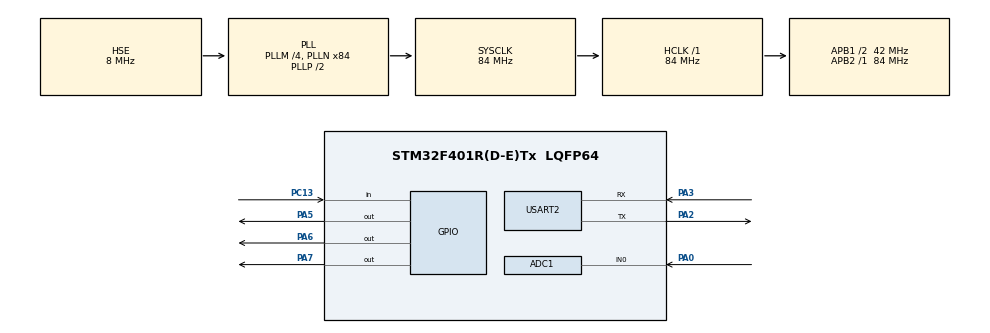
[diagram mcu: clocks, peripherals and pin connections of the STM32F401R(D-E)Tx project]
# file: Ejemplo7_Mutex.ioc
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ADC1.Channel-0\#ChannelRegularConversion=ADC_CHANNEL_0
ADC1.NbrOfConversionFlag=1
ADC1.Rank-0\#ChannelRegularConversion=1
ADC1.SamplingTime-0\#ChannelRegularConversion=ADC_SAMPLETIME_3CYCLES
ADC1.master=1
Mcu.Family=STM32F4
Mcu.Name=STM32F401R(D-E)Tx
Mcu.Package=LQFP64
NVIC.PriorityGroup=NVIC_PRIORITYGROUP_4
NVIC.TIM1_TRG_COM_TIM11_IRQn=true\:15\:0\:false\:false\:true\:false\:true\:true
NVIC.TimeBase=TIM1_TRG_COM_TIM11_IRQn
NVIC.TimeBaseIP=TIM11
PA0-WKUP.Signal=ADCx_IN0
PA2.Mode=Asynchronous
PA2.Signal=USART2_TX
PA3.Mode=Asynchronous
PA3.Signal=USART2_RX
PA5.Signal=GPIO_Output
PA6.Signal=GPIO_Output
PA7.Signal=GPIO_Output
PC13-ANTI_TAMP.GPIO_PuPd=GPIO_PULLUP
PC13-ANTI_TAMP.Signal=GPIO_Input
PH0\ -\ OSC_IN.Mode=HSE-External-Clock-Source
PH0\ -\ OSC_IN.Signal=RCC_OSC_IN
PH1\ -\ OSC_OUT.Mode=HSE-External-Clock-Source
PH1\ -\ OSC_OUT.Signal=RCC_OSC_OUT
ProjectManager.HeapSize=0x200
ProjectManager.StackSize=0x400
ProjectManager.TargetToolchain=STM32CubeIDE
RCC.48MHZClocksFreq_Value=42000000
RCC.AHBFreq_Value=84000000
RCC.APB1CLKDivider=RCC_HCLK_DIV2
RCC.APB1Freq_Value=42000000
RCC.APB1TimFreq_Value=84000000
RCC.APB2Freq_Value=84000000
RCC.APB2TimFreq_Value=84000000
RCC.CortexFreq_Value=84000000
RCC.HCLKFreq_Value=84000000
RCC.HSE_VALUE=8000000
RCC.HSI_VALUE=16000000
RCC.LSE_VALUE=32768
RCC.PLLM=4
RCC.PLLN=84
RCC.PLLSourceVirtual=RCC_PLLSOURCE_HSE
RCC.SYSCLKFreq_VALUE=84000000
RCC.SYSCLKSource=RCC_SYSCLKSOURCE_PLLCLK
RCC.VCOOutputFreq_Value=168000000
SH.ADCx_IN0.0=ADC1_IN0,IN0
USART2.VirtualMode=VM_ASYNC
VP_SYS_VS_tim11.Mode=TIM11
board=custom

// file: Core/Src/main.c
/* USER CODE BEGIN Header */
/* USER CODE END Header */
#include "main.h"
#include "adc.h"
#include "usart.h"
#include "gpio.h"

/* USER CODE BEGIN Includes */
#include "stdio.h"
#include "string.h"
#include "stdlib.h"
#include "stdarg.h"

#include "FreeRTOS.h"
#include "task.h"
#include "semphr.h"
/* USER CODE END Includes */

void SystemClock_Config(void);

/* USER CODE BEGIN 0 */

#define SYSTEM_VIEW				1

void SendUart(char *format,...);

TaskHandle_t TaskHandle1,TaskHandle2,TaskHandle3;
SemaphoreHandle_t xSemaphore;

void vTarea1(void *params);
void vTarea2(void *params);
void vTarea3(void *params);

BaseType_t data;
/* USER CODE END 0 */

int main(void)
{
  /* USER CODE BEGIN 1 */
	BaseType_t status;
  /* USER CODE END 1 */

  /* MCU Configuration--------------------------------------------------------*/

  /* Reset of all peripherals, Initializes the Flash interface and the Systick. */
  HAL_Init();

  /* Configure the system clock */
  SystemClock_Config();

  /* Initialize all configured peripherals */
  MX_GPIO_Init();
  MX_USART2_UART_Init();
  MX_ADC1_Init();
  /* USER CODE BEGIN 2 */
#if SYSTEM_VIEW
//  NVIC_SetPriorityGrouping(0);
  DWT->CTRL |= 1;
  SEGGER_SYSVIEW_Conf();
  /*solo se va usar cuando se trabaje en modo one shot*/
  SEGGER_SYSVIEW_Start();

#endif

  status = xTaskCreate(vTarea1,
		  	  	  	  	  	  "Tarea 1",
							  250,
							  NULL,
							  1,
							  &TaskHandle1);
  configASSERT(status == pdPASS);

  status = xTaskCreate(vTarea2,
		  	  	  	  	  	  "Tarea 2",
							  250,
							  NULL,
							  1,
							  &TaskHandle2);
  configASSERT(status == pdPASS);

  status = xTaskCreate(vTarea3,
		  	  	  	  	  	  "Tarea 3",
							  250,
							  NULL,
							  1,
							  &TaskHandle3);
  configASSERT(status == pdPASS);

  /*creacion de la Semaforo*/

  xSemaphore = xSemaphoreCreateMutex();
  configASSERT(xSemaphore != NULL);

  vTaskStartScheduler();//Arrancamos el kernel

  /* USER CODE END 2 */

  /* Infinite loop */

}

void SystemClock_Config(void)
{
  RCC_OscInitTypeDef RCC_OscInitStruct = {0};
  RCC_ClkInitTypeDef RCC_ClkInitStruct = {0};

  /** Configure the main internal regulator output voltage
  */
  __HAL_RCC_PWR_CLK_ENABLE();
  __HAL_PWR_VOLTAGESCALING_CONFIG(PWR_REGULATOR_VOLTAGE_SCALE2);

  /** Initializes the RCC Oscillators according to the specified parameters
  * in the RCC_OscInitTypeDef structure.
  */
  RCC_OscInitStruct.OscillatorType = RCC_OSCILLATORTYPE_HSE;
  RCC_OscInitStruct.HSEState = RCC_HSE_BYPASS;
  RCC_OscInitStruct.PLL.PLLState = RCC_PLL_ON;
  RCC_OscInitStruct.PLL.PLLSource = RCC_PLLSOURCE_HSE;
  RCC_OscInitStruct.PLL.PLLM = 4;
  RCC_OscInitStruct.PLL.PLLN = 84;
  RCC_OscInitStruct.PLL.PLLP = RCC_PLLP_DIV2;
  RCC_OscInitStruct.PLL.PLLQ = 4;
  if (HAL_RCC_OscConfig(&RCC_OscInitStruct) != HAL_OK)
  {
    Error_Handler();
  }

  /** Initializes the CPU, AHB and APB buses clocks
  */
  RCC_ClkInitStruct.ClockType = RCC_CLOCKTYPE_HCLK|RCC_CLOCKTYPE_SYSCLK
                              |RCC_CLOCKTYPE_PCLK1|RCC_CLOCKTYPE_PCLK2;
  RCC_ClkInitStruct.SYSCLKSource = RCC_SYSCLKSOURCE_PLLCLK;
  RCC_ClkInitStruct.AHBCLKDivider = RCC_SYSCLK_DIV1;
  RCC_ClkInitStruct.APB1CLKDivider = RCC_HCLK_DIV2;
  RCC_ClkInitStruct.APB2CLKDivider = RCC_HCLK_DIV1;

  if (HAL_RCC_ClockConfig(&RCC_ClkInitStruct, FLASH_LATENCY_2) != HAL_OK)
  {
    Error_Handler();
  }
}

/* USER CODE BEGIN 4 */

void SendUart(char *format,...){
char str[100];
va_list args;
va_start(args,format);
vsprintf(str,format,args);
HAL_UART_Transmit(&huart2, (uint8_t*)str, strlen(str), 10);
va_end(args);

}

void vTarea1(void *params){

	uint16_t adcread;
	float mv;
	for(;;){

		if (xSemaphoreTake(xSemaphore,pdMS_TO_TICKS(1000))) {
			HAL_ADC_Start(&hadc1);
				HAL_Delay(1);
				adcread = HAL_ADC_GetValue(&hadc1);
				mv = adcread*3.30/4096;
				HAL_ADC_Stop(&hadc1);
				vTaskDelay(pdMS_TO_TICKS(800));
				SendUart("ADC -> %u\n\rMV -> %0.2f\n\r\n\r",adcread,mv);
				xSemaphoreGive(xSemaphore);
		}

	vTaskDelay(pdMS_TO_TICKS(100));

	}

}

void vTarea2(void *params){

	for(;;){

	}

}
void vTarea3(void *params){

	for(;;){

	}
}

void vApplicationIdleHook(){
data ++;
SendUart("hook function->%d\n\r",data);
return;
}

void vApplicationTickHook(){

}
/* USER CODE END 4 */

void HAL_TIM_PeriodElapsedCallback(TIM_HandleTypeDef *htim)
{
  if (htim->Instance == TIM11) {
    HAL_IncTick();
  }
}

void Error_Handler(void)
{
}
